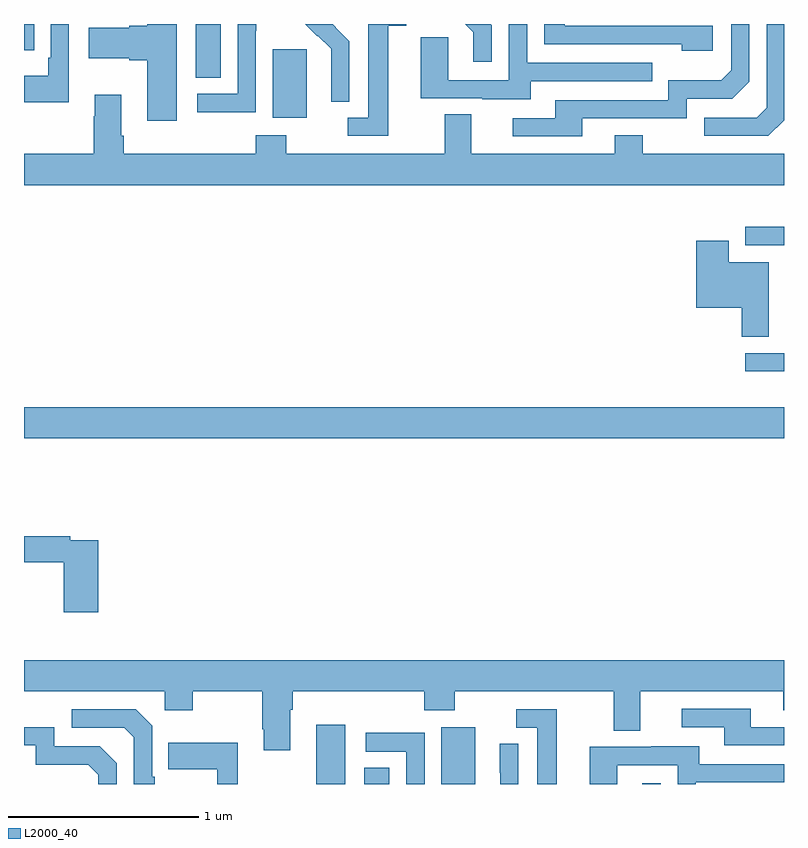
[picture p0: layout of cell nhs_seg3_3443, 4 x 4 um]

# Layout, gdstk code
import gdstk
lib = gdstk.Library(unit=1e-6, precision=1e-09)
def R(c, l, rs):  # rectangles x0, y0, x1, y1
    for r in rs: c.add(gdstk.rectangle(r[:2], r[2:], *l))
def P(c, l, *ps):  # polygons
    for p in ps: c.add(gdstk.Polygon(p, *l))
L2000_40 = (2000, 40)

nhs_seg3_3443 = lib.new_cell('nhs_seg3_3443')
R(nhs_seg3_3443, L2000_40, [(290.537,728.4,290.692,728.713), (290.792,728.4,290.923,728.486), (291.197,728.4,291.376,728.698), (292.253,728.4,292.35,728.404), (289,730.22,293,730.384), (292.797,730.572,293,730.668), (292.797,731.235,293,731.334), (290.309,731.906,290.488,732.267), (289.904,732.118,290.035,732.4), (289,732.263,289.055,732.4)])
P(nhs_seg3_3443, L2000_40, [(289.804,732.4),(289.649,732.4),(289.649,732.392),(289.553,732.392),(289.553,732.379),(289.341,732.379),(289.341,732.221),(289.553,732.221),(289.553,732.209),(289.649,732.209),(289.649,731.892),(289.804,731.892)],
  [(292.624,732.39),(291.847,732.39),(291.847,732.4),(291.738,732.4),(291.738,732.294),(292.463,732.294),(292.463,732.26),(292.624,732.26)],
  [(290.712,732.31),(290.639,732.383),(290.64,732.384),(290.624,732.4),(290.48,732.4),(290.544,732.336),(290.547,732.339),(290.618,732.269),(290.618,732.146),(290.616,732.146),(290.616,731.992),(290.712,731.992)],
  [(290.22,732.364),(290.223,732.364),(290.223,732.4),(290.124,732.4),(290.124,732.033),(289.911,732.033),(289.911,731.935),(290.22,731.935)],
  [(289.236,732.4),(289.14,732.4),(289.14,732.223),(289.128,732.223),(289.128,732.127),(289,732.127),(289,731.987),(289.236,731.987)],
  [(290.917,732.392),(291.013,732.392),(291.013,732.4),(290.813,732.4),(290.813,731.907),(290.703,731.907),(290.703,731.811),(290.917,731.811)],
  [(291.462,732.394),(291.456,732.4),(291.322,732.4),(291.365,732.357),(291.365,732.201),(291.462,732.201)],
  [(293,731.894),(293,732.4),(292.908,732.4),(292.908,731.958),(292.857,731.907),(292.581,731.907),(292.581,731.811),(292.917,731.811)],
  [(291.667,732.099),(292.307,732.099),(292.307,732.195),(291.648,732.195),(291.648,732.4),(291.552,732.4),(291.552,732.105),(291.234,732.105),(291.234,732.329),(291.089,732.329),(291.089,732.009),(291.413,732.009),(291.413,732.005),(291.667,732.005)],
  [(291.937,731.904),(292.488,731.904),(292.488,732.006),(292.728,732.006),(292.818,732.096),(292.818,732.4),(292.722,732.4),(292.722,732.156),(292.669,732.103),(292.392,732.103),(292.392,732),(291.797,732),(291.797,731.904),(291.573,731.904),(291.573,731.808),(291.937,731.808)],
  [(293,731.716),(292.257,731.716),(292.257,731.815),(292.109,731.815),(292.109,731.716),(291.355,731.716),(291.355,731.924),(291.215,731.924),(291.215,731.716),(290.379,731.716),(290.379,731.815),(290.219,731.815),(290.219,731.716),(289.526,731.716),(289.526,731.812),(289.513,731.812),(289.513,732.028),(289.373,732.028),(289.373,731.915),(289.366,731.915),(289.366,731.716),(289,731.716),(289,731.552),(293,731.552)],
  [(292.921,731.146),(292.708,731.146),(292.708,731.26),(292.538,731.26),(292.538,730.907),(292.778,730.907),(292.778,730.753),(292.921,730.753)],
  [(289.391,729.684),(289.244,729.684),(289.244,729.704),(289,729.704),(289,729.568),(289.208,729.568),(289.208,729.303),(289.391,729.303)],
  [(290.401,728.792),(290.414,728.792),(290.414,728.888),(291.107,728.888),(291.107,728.789),(291.267,728.789),(291.267,728.888),(292.103,728.888),(292.103,728.68),(292.243,728.68),(292.243,728.888),(292.997,728.888),(292.997,728.789),(293,728.789),(293,729.052),(289,729.052),(289,728.888),(289.74,728.888),(289.74,728.789),(289.887,728.789),(289.887,728.888),(290.254,728.888),(290.254,728.689),(290.261,728.689),(290.261,728.577),(290.401,728.577)],
  [(293,728.7),(292.825,728.7),(292.825,728.796),(292.461,728.796),(292.461,728.7),(292.685,728.7),(292.685,728.604),(293,728.604)],
  [(291.805,728.793),(291.591,728.793),(291.591,728.697),(291.701,728.697),(291.701,728.4),(291.805,728.4)],
  [(289.687,728.437),(289.674,728.437),(289.674,728.706),(289.587,728.793),(289.251,728.793),(289.251,728.697),(289.527,728.697),(289.578,728.646),(289.578,728.4),(289.687,728.4)],
  [(289.488,728.508),(289.398,728.598),(289.158,728.598),(289.158,728.7),(289,728.7),(289,728.604),(289.062,728.604),(289.062,728.501),(289.339,728.501),(289.392,728.448),(289.392,728.4),(289.488,728.4)],
  [(291.108,728.67),(290.799,728.67),(290.799,728.571),(291.012,728.571),(291.012,728.4),(291.108,728.4)],
  [(290.124,728.617),(289.759,728.617),(289.759,728.477),(290.016,728.477),(290.016,728.4),(290.124,728.4)],
  [(291.6,728.612),(291.504,728.612),(291.504,728.458),(291.506,728.458),(291.506,728.4),(291.6,728.4)],
  [(292.122,728.499),(292.44,728.499),(292.44,728.4),(292.536,728.4),(292.536,728.409),(293,728.409),(293,728.505),(292.555,728.505),(292.555,728.599),(292.301,728.599),(292.301,728.595),(291.977,728.595),(291.977,728.4),(292.122,728.4)])

lib.write_gds('nhs_seg3_3443.gds')
